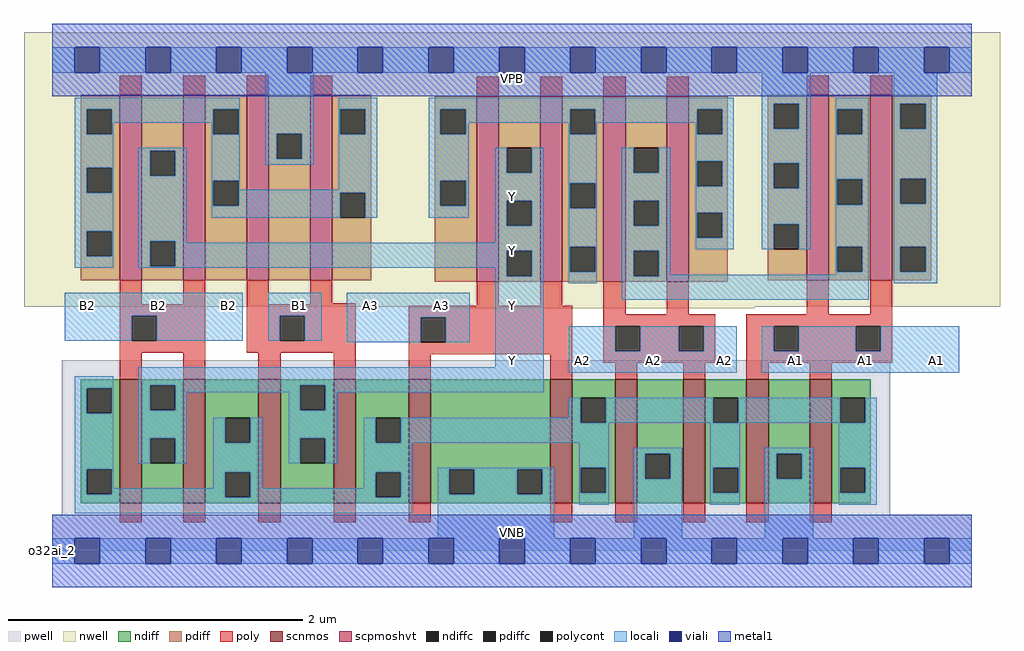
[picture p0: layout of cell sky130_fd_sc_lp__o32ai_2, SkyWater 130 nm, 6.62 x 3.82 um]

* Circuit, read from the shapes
.subckt sky130_fd_sc_lp__o32ai_2 A1 A2 A3 B1 B2 VGND VNB VPB VPWR Y
XM1 Y B2 n1 VNB sky130_fd_pr__nfet_01v8 w=0.84 l=0.15 m=2
XM2 Y B1 n1 VNB sky130_fd_pr__nfet_01v8 w=0.84 l=0.15 m=2
XM3 VGND A3 n1 VNB sky130_fd_pr__nfet_01v8 w=0.84 l=0.15 m=2
XM4 VGND A2 n1 VNB sky130_fd_pr__nfet_01v8 w=0.84 l=0.15 m=2
XM5 VGND A1 n1 VNB sky130_fd_pr__nfet_01v8 w=0.84 l=0.15 m=2
XM6 Y B2 n2 VPB sky130_fd_pr__pfet_01v8_hvt w=1.26 l=0.15 m=2
XM7 VPWR B1 n2 VPB sky130_fd_pr__pfet_01v8_hvt w=1.26 l=0.15 m=2
XM8 Y A3 n3 VPB sky130_fd_pr__pfet_01v8_hvt w=1.26 l=0.15 m=2
XM9 n4 A2 n3 VPB sky130_fd_pr__pfet_01v8_hvt w=1.26 l=0.15 m=2
XM10 n4 A1 VPWR VPB sky130_fd_pr__pfet_01v8_hvt w=1.26 l=0.15 m=2
.ends

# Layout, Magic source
magic
tech sky130A
magscale 1 2
<< nwell >>
rect -38 331 1286 704
rect 483 329 953 331
<< pwell >>
rect 13 49 1137 259
rect 0 0 1248 49
<< scnmos >>
rect 92 65 122 233
rect 178 65 208 233
rect 280 65 310 233
rect 382 65 412 233
rect 484 65 514 233
rect 676 65 706 233
rect 764 65 794 233
rect 856 65 886 233
rect 942 65 972 233
rect 1028 65 1058 233
<< scpmoshvt >>
rect 92 367 122 619
rect 178 367 208 619
rect 264 367 294 619
rect 350 367 380 619
rect 576 365 606 617
rect 662 365 692 617
rect 748 365 778 617
rect 834 365 864 617
rect 1024 367 1054 619
rect 1110 367 1140 619
<< ndiff >>
rect 39 221 92 233
rect 39 187 47 221
rect 81 187 92 221
rect 39 111 92 187
rect 39 77 47 111
rect 81 77 92 111
rect 39 65 92 77
rect 122 225 178 233
rect 122 191 133 225
rect 167 191 178 225
rect 122 153 178 191
rect 122 119 133 153
rect 167 119 178 153
rect 122 65 178 119
rect 208 181 280 233
rect 208 147 235 181
rect 269 147 280 181
rect 208 107 280 147
rect 208 73 235 107
rect 269 73 280 107
rect 208 65 280 73
rect 310 225 382 233
rect 310 191 337 225
rect 371 191 382 225
rect 310 153 382 191
rect 310 119 337 153
rect 371 119 382 153
rect 310 65 382 119
rect 412 181 484 233
rect 412 147 439 181
rect 473 147 484 181
rect 412 107 484 147
rect 412 73 439 107
rect 473 73 484 107
rect 412 65 484 73
rect 514 111 676 233
rect 514 77 539 111
rect 573 77 631 111
rect 665 77 676 111
rect 514 65 676 77
rect 706 208 764 233
rect 706 174 717 208
rect 751 174 764 208
rect 706 113 764 174
rect 706 79 717 113
rect 751 79 764 113
rect 706 65 764 79
rect 794 132 856 233
rect 794 98 805 132
rect 839 98 856 132
rect 794 65 856 98
rect 886 208 942 233
rect 886 174 897 208
rect 931 174 942 208
rect 886 113 942 174
rect 886 79 897 113
rect 931 79 942 113
rect 886 65 942 79
rect 972 132 1028 233
rect 972 98 983 132
rect 1017 98 1028 132
rect 972 65 1028 98
rect 1058 208 1111 233
rect 1058 174 1069 208
rect 1103 174 1111 208
rect 1058 113 1111 174
rect 1058 79 1069 113
rect 1103 79 1111 113
rect 1058 65 1111 79
<< pdiff >>
rect 39 599 92 619
rect 39 565 47 599
rect 81 565 92 599
rect 39 520 92 565
rect 39 486 47 520
rect 81 486 92 520
rect 39 434 92 486
rect 39 400 47 434
rect 81 400 92 434
rect 39 367 92 400
rect 122 543 178 619
rect 122 509 133 543
rect 167 509 178 543
rect 122 420 178 509
rect 122 386 133 420
rect 167 386 178 420
rect 122 367 178 386
rect 208 599 264 619
rect 208 565 219 599
rect 253 565 264 599
rect 208 502 264 565
rect 208 468 219 502
rect 253 468 264 502
rect 208 367 264 468
rect 294 566 350 619
rect 294 532 305 566
rect 339 532 350 566
rect 294 367 350 532
rect 380 599 433 619
rect 380 565 391 599
rect 425 565 433 599
rect 380 486 433 565
rect 380 452 391 486
rect 425 452 433 486
rect 380 367 433 452
rect 519 599 576 617
rect 519 565 527 599
rect 561 565 576 599
rect 519 502 576 565
rect 519 468 527 502
rect 561 468 576 502
rect 519 365 576 468
rect 606 547 662 617
rect 606 513 617 547
rect 651 513 662 547
rect 606 475 662 513
rect 606 441 617 475
rect 651 441 662 475
rect 606 407 662 441
rect 606 373 617 407
rect 651 373 662 407
rect 606 365 662 373
rect 692 599 748 617
rect 692 565 703 599
rect 737 565 748 599
rect 692 499 748 565
rect 692 465 703 499
rect 737 465 748 499
rect 692 413 748 465
rect 692 379 703 413
rect 737 379 748 413
rect 692 365 748 379
rect 778 547 834 617
rect 778 513 789 547
rect 823 513 834 547
rect 778 475 834 513
rect 778 441 789 475
rect 823 441 834 475
rect 778 407 834 441
rect 778 373 789 407
rect 823 373 834 407
rect 778 365 834 373
rect 864 599 917 617
rect 864 565 875 599
rect 909 565 917 599
rect 864 529 917 565
rect 864 495 875 529
rect 909 495 917 529
rect 864 459 917 495
rect 864 425 875 459
rect 909 425 917 459
rect 864 365 917 425
rect 971 607 1024 619
rect 971 573 979 607
rect 1013 573 1024 607
rect 971 526 1024 573
rect 971 492 979 526
rect 1013 492 1024 526
rect 971 443 1024 492
rect 971 409 979 443
rect 1013 409 1024 443
rect 971 367 1024 409
rect 1054 599 1110 619
rect 1054 565 1065 599
rect 1099 565 1110 599
rect 1054 504 1110 565
rect 1054 470 1065 504
rect 1099 470 1110 504
rect 1054 413 1110 470
rect 1054 379 1065 413
rect 1099 379 1110 413
rect 1054 367 1110 379
rect 1140 607 1193 619
rect 1140 573 1151 607
rect 1185 573 1193 607
rect 1140 505 1193 573
rect 1140 471 1151 505
rect 1185 471 1193 505
rect 1140 413 1193 471
rect 1140 379 1151 413
rect 1185 379 1193 413
rect 1140 367 1193 379
<< ndiffc >>
rect 47 187 81 221
rect 47 77 81 111
rect 133 191 167 225
rect 133 119 167 153
rect 235 147 269 181
rect 235 73 269 107
rect 337 191 371 225
rect 337 119 371 153
rect 439 147 473 181
rect 439 73 473 107
rect 539 77 573 111
rect 631 77 665 111
rect 717 174 751 208
rect 717 79 751 113
rect 805 98 839 132
rect 897 174 931 208
rect 897 79 931 113
rect 983 98 1017 132
rect 1069 174 1103 208
rect 1069 79 1103 113
<< pdiffc >>
rect 47 565 81 599
rect 47 486 81 520
rect 47 400 81 434
rect 133 509 167 543
rect 133 386 167 420
rect 219 565 253 599
rect 219 468 253 502
rect 305 532 339 566
rect 391 565 425 599
rect 391 452 425 486
rect 527 565 561 599
rect 527 468 561 502
rect 617 513 651 547
rect 617 441 651 475
rect 617 373 651 407
rect 703 565 737 599
rect 703 465 737 499
rect 703 379 737 413
rect 789 513 823 547
rect 789 441 823 475
rect 789 373 823 407
rect 875 565 909 599
rect 875 495 909 529
rect 875 425 909 459
rect 979 573 1013 607
rect 979 492 1013 526
rect 979 409 1013 443
rect 1065 565 1099 599
rect 1065 470 1099 504
rect 1065 379 1099 413
rect 1151 573 1185 607
rect 1151 471 1185 505
rect 1151 379 1185 413
<< poly >>
rect 92 619 122 645
rect 178 619 208 645
rect 264 619 294 645
rect 350 619 380 645
rect 576 617 606 643
rect 662 617 692 643
rect 748 617 778 643
rect 834 617 864 643
rect 1024 619 1054 645
rect 1110 619 1140 645
rect 92 335 122 367
rect 178 335 208 367
rect 92 319 208 335
rect 92 285 108 319
rect 142 285 208 319
rect 92 269 208 285
rect 264 335 294 367
rect 350 336 380 367
rect 350 335 412 336
rect 264 319 412 335
rect 576 333 606 365
rect 662 333 692 365
rect 264 285 309 319
rect 343 285 412 319
rect 264 269 412 285
rect 92 233 122 269
rect 178 233 208 269
rect 280 233 310 269
rect 382 233 412 269
rect 484 317 706 333
rect 484 283 500 317
rect 534 283 706 317
rect 484 267 706 283
rect 484 233 514 267
rect 676 233 706 267
rect 748 321 778 365
rect 834 321 864 365
rect 1024 321 1054 367
rect 1110 321 1140 367
rect 748 305 900 321
rect 748 271 764 305
rect 798 271 850 305
rect 884 271 900 305
rect 748 255 900 271
rect 942 305 1140 321
rect 942 271 979 305
rect 1013 271 1090 305
rect 1124 271 1140 305
rect 942 255 1140 271
rect 764 233 794 255
rect 856 233 886 255
rect 942 233 972 255
rect 1028 233 1058 255
rect 92 39 122 65
rect 178 39 208 65
rect 280 39 310 65
rect 382 39 412 65
rect 484 39 514 65
rect 676 39 706 65
rect 764 39 794 65
rect 856 39 886 65
rect 942 39 972 65
rect 1028 39 1058 65
<< polycont >>
rect 108 285 142 319
rect 309 285 343 319
rect 500 283 534 317
rect 764 271 798 305
rect 850 271 884 305
rect 979 271 1013 305
rect 1090 271 1124 305
<< locali >>
rect 0 649 31 683
rect 65 649 127 683
rect 161 649 223 683
rect 257 649 319 683
rect 353 649 415 683
rect 449 649 511 683
rect 545 649 607 683
rect 641 649 703 683
rect 737 649 799 683
rect 833 649 895 683
rect 929 649 991 683
rect 1025 649 1087 683
rect 1121 649 1183 683
rect 1217 649 1248 683
rect 31 599 255 615
rect 31 565 47 599
rect 81 581 219 599
rect 81 565 83 581
rect 31 520 83 565
rect 217 565 219 581
rect 253 565 255 599
rect 31 486 47 520
rect 81 486 83 520
rect 31 434 83 486
rect 31 400 47 434
rect 81 400 83 434
rect 31 384 83 400
rect 117 543 183 547
rect 117 509 133 543
rect 167 509 183 543
rect 117 420 183 509
rect 217 502 255 565
rect 289 566 355 649
rect 289 532 305 566
rect 339 532 355 566
rect 289 524 355 532
rect 389 599 441 615
rect 389 565 391 599
rect 425 565 441 599
rect 217 468 219 502
rect 253 490 255 502
rect 389 490 441 565
rect 253 486 441 490
rect 253 468 391 486
rect 217 452 391 468
rect 425 452 441 486
rect 511 599 925 615
rect 511 565 527 599
rect 561 581 703 599
rect 561 565 565 581
rect 511 502 565 565
rect 701 565 703 581
rect 737 581 875 599
rect 737 565 739 581
rect 511 468 527 502
rect 561 468 565 502
rect 511 452 565 468
rect 601 513 617 547
rect 651 513 667 547
rect 601 475 667 513
rect 117 386 133 420
rect 167 418 183 420
rect 601 441 617 475
rect 651 441 667 475
rect 601 418 667 441
rect 167 407 667 418
rect 167 386 617 407
rect 117 384 617 386
rect 601 373 617 384
rect 651 373 667 407
rect 17 319 259 350
rect 17 285 108 319
rect 142 285 259 319
rect 293 319 366 350
rect 293 285 309 319
rect 343 285 366 319
rect 400 317 567 350
rect 400 283 500 317
rect 534 283 567 317
rect 601 249 667 373
rect 701 499 739 565
rect 873 565 875 581
rect 909 565 925 599
rect 701 465 703 499
rect 737 465 739 499
rect 701 413 739 465
rect 701 379 703 413
rect 737 379 739 413
rect 701 363 739 379
rect 773 513 789 547
rect 823 513 839 547
rect 773 475 839 513
rect 773 441 789 475
rect 823 441 839 475
rect 773 407 839 441
rect 873 529 925 565
rect 873 495 875 529
rect 909 495 925 529
rect 873 459 925 495
rect 873 425 875 459
rect 909 425 925 459
rect 873 409 925 425
rect 963 607 1029 649
rect 963 573 979 607
rect 1013 573 1029 607
rect 963 526 1029 573
rect 963 492 979 526
rect 1013 492 1029 526
rect 963 443 1029 492
rect 963 409 979 443
rect 1013 409 1029 443
rect 1063 599 1108 615
rect 1063 565 1065 599
rect 1099 565 1108 599
rect 1063 504 1108 565
rect 1063 470 1065 504
rect 1099 470 1108 504
rect 1063 413 1108 470
rect 773 373 789 407
rect 823 375 839 407
rect 1063 379 1065 413
rect 1099 379 1108 413
rect 1063 375 1108 379
rect 823 373 1108 375
rect 773 341 1108 373
rect 1142 607 1201 649
rect 1142 573 1151 607
rect 1185 573 1201 607
rect 1142 505 1201 573
rect 1142 471 1151 505
rect 1185 471 1201 505
rect 1142 413 1201 471
rect 1142 379 1151 413
rect 1185 379 1201 413
rect 1142 363 1201 379
rect 31 221 83 237
rect 31 187 47 221
rect 81 187 83 221
rect 31 111 83 187
rect 117 225 667 249
rect 701 271 764 305
rect 798 271 850 305
rect 884 271 929 305
rect 701 242 929 271
rect 963 271 979 305
rect 1013 271 1090 305
rect 1124 271 1231 305
rect 963 242 1231 271
rect 117 191 133 225
rect 167 215 337 225
rect 167 191 183 215
rect 117 153 183 191
rect 321 191 337 215
rect 371 215 667 225
rect 371 191 387 215
rect 117 119 133 153
rect 167 119 183 153
rect 219 147 235 181
rect 269 147 285 181
rect 31 77 47 111
rect 81 85 83 111
rect 219 107 285 147
rect 321 153 387 191
rect 701 181 717 208
rect 321 119 337 153
rect 371 119 387 153
rect 423 147 439 181
rect 473 174 717 181
rect 751 174 897 208
rect 931 174 1069 208
rect 1103 174 1119 208
rect 473 147 755 174
rect 219 85 235 107
rect 81 77 235 85
rect 31 73 235 77
rect 269 85 285 107
rect 423 107 489 147
rect 715 113 755 147
rect 423 85 439 107
rect 269 73 439 85
rect 473 73 489 107
rect 31 51 489 73
rect 523 111 681 113
rect 523 77 539 111
rect 573 77 631 111
rect 665 77 681 111
rect 523 17 681 77
rect 715 79 717 113
rect 751 79 755 113
rect 715 63 755 79
rect 789 132 855 140
rect 789 98 805 132
rect 839 98 855 132
rect 789 17 855 98
rect 893 113 933 174
rect 893 79 897 113
rect 931 79 933 113
rect 893 63 933 79
rect 967 132 1033 140
rect 967 98 983 132
rect 1017 98 1033 132
rect 967 17 1033 98
rect 1067 113 1119 174
rect 1067 79 1069 113
rect 1103 79 1119 113
rect 1067 63 1119 79
rect 0 -17 31 17
rect 65 -17 127 17
rect 161 -17 223 17
rect 257 -17 319 17
rect 353 -17 415 17
rect 449 -17 511 17
rect 545 -17 607 17
rect 641 -17 703 17
rect 737 -17 799 17
rect 833 -17 895 17
rect 929 -17 991 17
rect 1025 -17 1087 17
rect 1121 -17 1183 17
rect 1217 -17 1248 17
<< viali >>
rect 31 649 65 683
rect 127 649 161 683
rect 223 649 257 683
rect 319 649 353 683
rect 415 649 449 683
rect 511 649 545 683
rect 607 649 641 683
rect 703 649 737 683
rect 799 649 833 683
rect 895 649 929 683
rect 991 649 1025 683
rect 1087 649 1121 683
rect 1183 649 1217 683
rect 31 -17 65 17
rect 127 -17 161 17
rect 223 -17 257 17
rect 319 -17 353 17
rect 415 -17 449 17
rect 511 -17 545 17
rect 607 -17 641 17
rect 703 -17 737 17
rect 799 -17 833 17
rect 895 -17 929 17
rect 991 -17 1025 17
rect 1087 -17 1121 17
rect 1183 -17 1217 17
<< metal1 >>
rect 0 683 1248 715
rect 0 649 31 683
rect 65 649 127 683
rect 161 649 223 683
rect 257 649 319 683
rect 353 649 415 683
rect 449 649 511 683
rect 545 649 607 683
rect 641 649 703 683
rect 737 649 799 683
rect 833 649 895 683
rect 929 649 991 683
rect 1025 649 1087 683
rect 1121 649 1183 683
rect 1217 649 1248 683
rect 0 617 1248 649
rect 0 17 1248 49
rect 0 -17 31 17
rect 65 -17 127 17
rect 161 -17 223 17
rect 257 -17 319 17
rect 353 -17 415 17
rect 449 -17 511 17
rect 545 -17 607 17
rect 641 -17 703 17
rect 737 -17 799 17
rect 833 -17 895 17
rect 929 -17 991 17
rect 1025 -17 1087 17
rect 1121 -17 1183 17
rect 1217 -17 1248 17
rect 0 -49 1248 -17
<< labels >>
flabel pwell s 0 0 1248 49 0 FreeSans 200 0 0 0 VNB
port 7 nsew ground bidirectional
flabel nwell s 0 617 1248 666 0 FreeSans 200 0 0 0 VPB
port 8 nsew power bidirectional
rlabel comment s 0 0 0 0 4 o32ai_2
flabel metal1 s 0 617 1248 666 0 FreeSans 340 0 0 0 VPWR
port 9 nsew power bidirectional
flabel metal1 s 0 0 1248 49 0 FreeSans 340 0 0 0 VGND
port 6 nsew ground bidirectional
flabel locali s 607 242 641 276 0 FreeSans 340 0 0 0 Y
port 10 nsew signal output
flabel locali s 607 316 641 350 0 FreeSans 340 0 0 0 Y
port 10 nsew signal output
flabel locali s 607 390 641 424 0 FreeSans 340 0 0 0 Y
port 10 nsew signal output
flabel locali s 607 464 641 498 0 FreeSans 340 0 0 0 Y
port 10 nsew signal output
flabel locali s 991 242 1025 276 0 FreeSans 340 0 0 0 A1
port 1 nsew signal input
flabel locali s 1087 242 1121 276 0 FreeSans 340 0 0 0 A1
port 1 nsew signal input
flabel locali s 1183 242 1217 276 0 FreeSans 340 0 0 0 A1
port 1 nsew signal input
flabel locali s 703 242 737 276 0 FreeSans 340 0 0 0 A2
port 2 nsew signal input
flabel locali s 799 242 833 276 0 FreeSans 340 0 0 0 A2
port 2 nsew signal input
flabel locali s 895 242 929 276 0 FreeSans 340 0 0 0 A2
port 2 nsew signal input
flabel locali s 415 316 449 350 0 FreeSans 340 0 0 0 A3
port 3 nsew signal input
flabel locali s 511 316 545 350 0 FreeSans 340 0 0 0 A3
port 3 nsew signal input
flabel locali s 319 316 353 350 0 FreeSans 340 0 0 0 B1
port 4 nsew signal input
flabel locali s 31 316 65 350 0 FreeSans 340 0 0 0 B2
port 5 nsew signal input
flabel locali s 127 316 161 350 0 FreeSans 340 0 0 0 B2
port 5 nsew signal input
flabel locali s 223 316 257 350 0 FreeSans 340 0 0 0 B2
port 5 nsew signal input
<< properties >>
string LEFsite unit
string LEFclass CORE
string FIXED_BBOX 0 0 1248 666
string GDS_FILE $PDKPATH/libs.ref/sky130_fd_sc_lp/gds/sky130_fd_sc_lp.gds
string LEFsymmetry X Y R90
string GDS_END 1784468
string GDS_START 1773078
<< end >>
